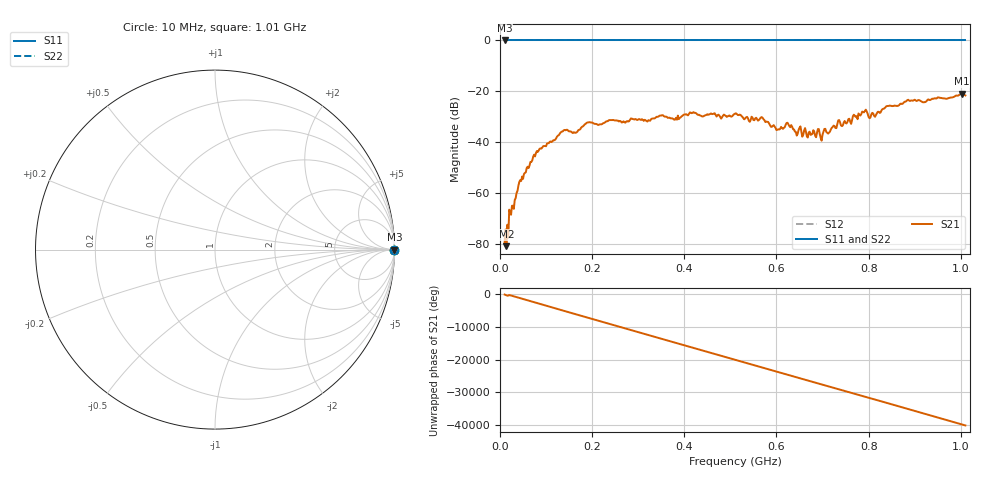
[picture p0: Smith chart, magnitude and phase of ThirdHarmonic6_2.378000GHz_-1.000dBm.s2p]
! 8/17/2025 3:46:17 AM
! C:\ANRITSUVNA\TEMP\TEMP.S2P
! CHANNEL.1
! TR.MEASUREMENT
! RAW.DATA
! RF.CORRECTION.OFF
! AVERAGING.OFF
! IF.BANDWIDTH: 5KHZ
! SWEEPTYPE:  FREQ.SWEEP(Linear)
! Reference Plane Port Info
! PORT:  PORT1  PORT2
! DISTANCE:  0  m  0  m
! TIME:  0  s  0  s
! PHASE.OFFSET:  0  deg.  0  deg.
! LOSS:  0  dB  0  dB
! REF.LOSS:  0  dB  0  dB
! REF.FREQ:  0  Hz  0  Hz
! Power Info
! POWER:  -20  dBm  -20  dBm
! EFF.POWER:  -20  dBm  -20  dBm
! SOURCE.ATTEN:  0  dB  0  dB
! TEST.ATTEN:  0  dB  0  dB
# GHZ S RI R 50.0
! FREQ.GHZ  S11RE  S11IM  S21RE  S21IM  S12RE  S12IM  S22RE  S22IM
!; PortSelection: Port_12
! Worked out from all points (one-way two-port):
!   501 points, 10 MHz to 1.01 GHz, reference 50 ohm
!   highest |S21| = -20.93 dB at 1.002 GHz (marker M1); lowest = -80.9 dB at 14 MHz (marker M2)
!   lowest |S11| = 0.0 dB at 10 MHz (marker M3)
!   |S11| at or under -10 dB: nowhere
!   |S22| runs from 0.0 to 0.0 dB; largest |S21 - S12| = 1.1
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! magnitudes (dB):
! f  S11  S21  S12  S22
! 10 MHz  0.0  -79.4  0.0  0.0
! 14 MHz  0.0  -80.9  0.0  0.0
! 24 MHz  0.0  -68.5  0.0  0.0
! 44 MHz  0.0  -54.9  0.0  0.0
! 76 MHz  0.0  -45.6  0.0  0.0
! 136 MHz  0.0  -35.8  0.0  0.0
! 162 MHz  0.0  -36.2  0.0  0.0
! 178 MHz  0.0  -34.0  0.0  0.0
! 192 MHz  0.0  -32.2  0.0  0.0
! 344 MHz  0.0  -29.9  0.0  0.0
! 510 MHz  0.0  -28.8  0.0  0.0
! 570 MHz  0.0  -30.5  0.0  0.0
! 602 MHz  0.0  -35.1  0.0  0.0
! 624 MHz  0.0  -32.4  0.0  0.0
! 642 MHz  0.0  -35.9  0.0  0.0
! 678 MHz  0.0  -36.7  0.0  0.0
! 698 MHz  0.0  -39.4  0.0  0.0
! 790 MHz  0.0  -28.2  0.0  0.0
! 802 MHz  0.0  -30.6  0.0  0.0
! 844 MHz  0.0  -25.7  0.0  0.0
! 1.002 GHz  0.0  -20.9  0.0  0.0
! 1.01 GHz  0.0  -21.6  0.0  0.0
